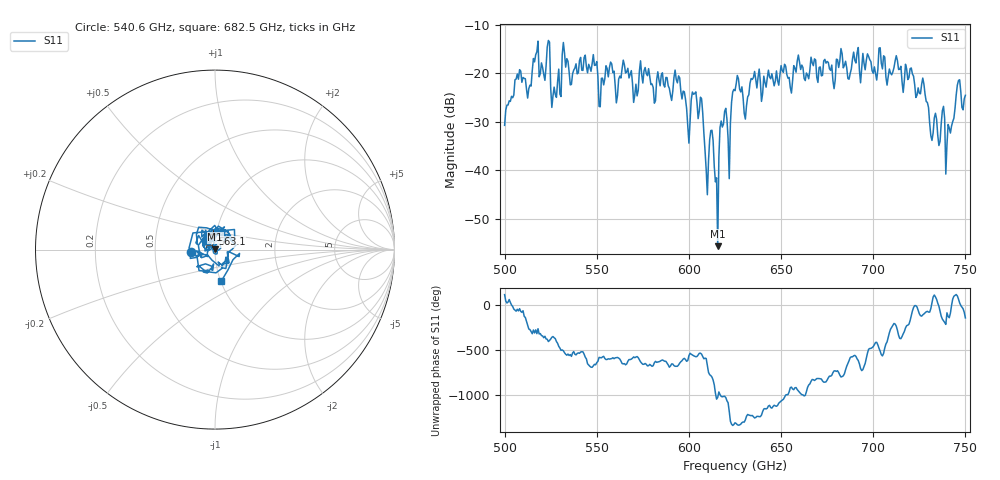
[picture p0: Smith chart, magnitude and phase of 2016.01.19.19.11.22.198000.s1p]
!Created with skrf (http://scikit-rf.org).
# GHz S RI R 50.0
!freq ReS11 ImS11
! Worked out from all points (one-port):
!   401 points, 500 GHz to 750 GHz, reference 50 ohm
!   lowest |S11| = -55.7 dB at 615.6 GHz (marker M1), VSWR 1.00, Z = 50.1 + j0.132 ohm
!   |S11| at or under -10 dB: start of sweep to end of sweep
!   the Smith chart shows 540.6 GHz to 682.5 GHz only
!   S11 on the Smith chart (normalised r, x): 540.6 GHz: 0.76, -0.02; 563.1 GHz: 0.96, +0.17; 682.5 GHz: 1.00, -0.37
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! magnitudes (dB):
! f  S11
! 500 GHz  -30.8
! 507.5 GHz  -21.2
! 513.1 GHz  -23.2
! 516.9 GHz  -16.2
! 523.8 GHz  -13.2
! 526.9 GHz  -22.9
! 531.2 GHz  -16.2
! 540.6 GHz  -17.4
! 562.5 GHz  -20.6
! 563.1 GHz  -21.0
! 593.8 GHz  -22.0
! 599.4 GHz  -30.7
! 606.2 GHz  -24.9
! 609.4 GHz  -40.0
! 612.5 GHz  -31.8
! 615.6 GHz  -55.7
! 618.1 GHz  -31.1
! 621.9 GHz  -41.8
! 625 GHz  -23.6
! 630.6 GHz  -29.5
! 635 GHz  -20.9
! 656.2 GHz  -21.5
! 682.5 GHz  -14.9
! 687.5 GHz  -20.0
! 718.8 GHz  -21.3
! 740.6 GHz  -30.6
! 746.2 GHz  -21.5
! 750 GHz  -24.5
